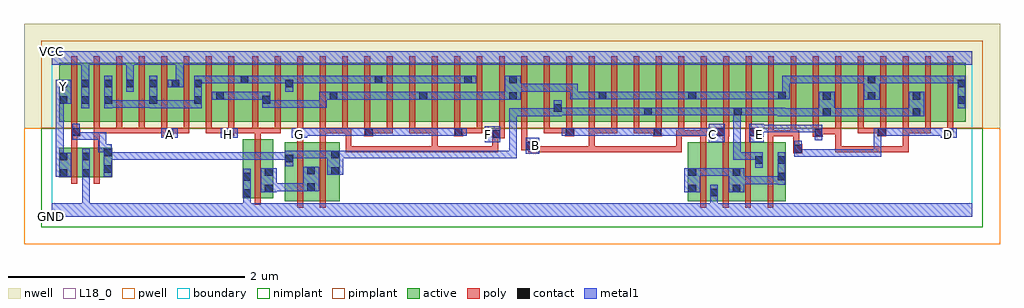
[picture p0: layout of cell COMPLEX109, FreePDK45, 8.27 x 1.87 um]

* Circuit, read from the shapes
.subckt COMPLEX109 A B C D E F G GND H VCC Y
M1 GND n1 Y VSUBS nfet w=0.25u l=0.05u
M2 n1 A GND VSUBS nfet w=0.25u l=0.05u
M3 n2 H GND VSUBS nfet w=0.5u l=0.05u
M4 n2 G n1 VSUBS nfet w=0.5u l=0.05u
M5 n1 F n2 VSUBS nfet w=0.5u l=0.05u
M6 GND B n3 VSUBS nfet w=0.5u l=0.05u
M7 n3 C GND VSUBS nfet w=0.5u l=0.05u
M8 n1 E n3 VSUBS nfet w=0.5u l=0.05u
M9 n3 D n1 VSUBS nfet w=0.5u l=0.05u
M10 VCC n1 Y n4 pfet w=0.5u l=0.05u
M11 n5 A VCC n4 pfet w=0.5u l=0.05u m=5
M12 n6 H n5 n4 pfet w=0.5u l=0.05u m=4
M13 n7 G n5 n4 pfet w=0.5u l=0.05u
M14 n6 F n7 n4 pfet w=0.5u l=0.05u
M15 n8 F n6 n4 pfet w=0.5u l=0.05u
M16 n5 G n8 n4 pfet w=0.5u l=0.05u
M17 n9 G n5 n4 pfet w=0.5u l=0.05u
M18 n6 F n9 n4 pfet w=0.5u l=0.05u
M19 n10 F n6 n4 pfet w=0.5u l=0.05u
M20 n5 G n10 n4 pfet w=0.5u l=0.05u
M21 n11 G n5 n4 pfet w=0.5u l=0.05u
M22 n6 F n11 n4 pfet w=0.5u l=0.05u
M23 n12 B n6 n4 pfet w=0.5u l=0.05u
M24 n1 C n12 n4 pfet w=0.5u l=0.05u
M25 n13 C n1 n4 pfet w=0.5u l=0.05u
M26 n6 B n13 n4 pfet w=0.5u l=0.05u
M27 n14 B n6 n4 pfet w=0.5u l=0.05u
M28 n1 C n14 n4 pfet w=0.5u l=0.05u
M29 n15 C n1 n4 pfet w=0.5u l=0.05u
M30 n6 B n15 n4 pfet w=0.5u l=0.05u
M31 n16 B n6 n4 pfet w=0.5u l=0.05u
M32 n1 C n16 n4 pfet w=0.5u l=0.05u
M33 n17 E n1 n4 pfet w=0.5u l=0.05u
M34 n6 D n17 n4 pfet w=0.5u l=0.05u
M35 n18 D n6 n4 pfet w=0.5u l=0.05u
M36 n1 E n18 n4 pfet w=0.5u l=0.05u
M37 n19 E n1 n4 pfet w=0.5u l=0.05u
M38 n6 D n19 n4 pfet w=0.5u l=0.05u
M39 n20 D n6 n4 pfet w=0.5u l=0.05u
M40 n1 E n20 n4 pfet w=0.5u l=0.05u
M41 n21 E n1 n4 pfet w=0.5u l=0.05u
M42 n6 D n21 n4 pfet w=0.5u l=0.05u
.ends

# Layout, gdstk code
import gdstk
lib = gdstk.Library(unit=1e-6, precision=1e-09)
def R(c, l, rs):  # rectangles x0, y0, x1, y1
    for r in rs: c.add(gdstk.rectangle(r[:2], r[2:], *l))
def A(c, l, x, y, w, h, nx, ny, dx, dy):  # array of equal rectangles
    R(c, l, [(x+i*dx, y+j*dy, x+i*dx+w, y+j*dy+h) for i in range(nx) for j in range(ny)])
active = (1, 0)
pwell = (2, 0)
nwell = (3, 0)
nimplant = (4, 0)
pimplant = (5, 0)
poly = (9, 0)
contact = (10, 0)
metal1 = (11, 0)
L18_0 = (18, 0)
boundary = (235, 0)

complex109 = lib.new_cell('COMPLEX109')
A(complex109, active, 5.575, 0.13, 0.265, 0.5, 3, 1, 0.19, 0)
A(complex109, active, 2.2, 0.805, 0.225, 0.5, 7, 1, 0.38, 0)
A(complex109, active, 2.35, 0.805, 0.23, 0.5, 7, 1, 0.38, 0)
A(complex109, active, 3.87, 0.805, 0.075, 0.395, 4, 1, 0.76, 0)
A(complex109, active, 6, 0.805, 0.225, 0.5, 5, 1, 0.38, 0)
A(complex109, active, 6.15, 0.805, 0.23, 0.5, 4, 1, 0.38, 0)
R(complex109, active, [(1.975,0.13,2.235,0.63), (2.16,0.13,2.44,0.63), (5.39,0.13,5.65,0.63), (5.575,0.13,5.65,0.592), (1.617,0.155,1.877,0.655), (1.617,0.155,1.692,0.592), (1.802,0.195,1.877,0.655), (1.975,0.195,2.05,0.63), (2.16,0.195,2.235,0.592), (2.365,0.195,2.44,0.63), (5.39,0.195,5.465,0.63), (5.765,0.195,5.84,0.592), (5.955,0.195,6.03,0.592), (6.145,0.195,6.22,0.63), (0.062,0.332,0.137,0.582), (0.062,0.332,0.327,0.582), (0.252,0.332,0.327,0.582), (0.252,0.332,0.512,0.582), (0.437,0.332,0.512,0.582), (0.062,0.805,0.322,1.305), (0.062,0.805,0.137,1.2), (0.247,0.805,0.517,1.305), (0.247,0.805,0.322,1.305), (0.442,0.805,0.702,1.305), (0.442,0.805,0.517,1.2), (0.627,0.805,0.897,1.305), (0.822,0.805,1.087,1.305), (1.012,0.805,1.277,1.305), (1.202,0.805,1.462,1.305), (1.202,0.805,1.277,1.2), (1.387,0.805,1.462,1.07), (1.387,0.805,1.67,1.305), (1.595,0.805,1.855,1.305), (1.595,0.805,1.67,1.2), (1.78,0.805,1.855,1.07), (1.78,0.805,2.05,1.305), (1.975,0.805,2.2,1.305), (2.35,0.805,2.425,1.07), (2.73,0.805,2.805,1.2), (3.11,0.805,3.185,1.07), (3.49,0.805,3.565,1.2), (4.25,0.805,4.325,1.07), (4.86,0.805,5.09,1.305), (5.015,0.805,5.24,1.305), (5.24,0.805,5.465,1.305), (5.39,0.805,5.62,1.305), (5.62,0.805,5.85,1.305), (5.775,0.805,6,1.305), (5.775,0.805,5.85,1.07), (6.53,0.805,6.605,1.07), (7.29,0.805,7.365,1.07), (7.67,0.805,7.745,1.2), (0.627,0.807,0.702,1.305), (0.822,0.807,0.897,1.2), (1.012,0.807,1.087,1.305), (1.975,0.807,2.05,1.2), (5.015,0.807,5.09,1.07), (6.91,0.807,6.985,1.2)])
R(complex109, pwell, [(-0.235,-0.235,8.035,0.75)])
R(complex109, nwell, [(-0.235,0.75,8.035,1.635)])
R(complex109, nimplant, [(-0.09,-0.09,7.89,0.75)])
R(complex109, pimplant, [(-0.09,0.75,7.89,1.49)])
A(complex109, poly, 5.495, 0.075, 0.05, 0.61, 4, 1, 0.19, 0)
A(complex109, poly, 4.435, 0.547, 0.05, 0.05, 3, 1, 0.115, 0)
A(complex109, poly, 5.495, 0.635, 0.05, 0.095, 4, 1, 0.19, 0)
A(complex109, poly, 0.167, 0.705, 0.05, 0.095, 8, 1, 0.19, 0)
A(complex109, poly, 0.357, 0.705, 0.24, 0.05, 3, 1, 0.19, 0)
A(complex109, poly, 0.357, 0.705, 0.05, 0.05, 3, 1, 0.19, 0)
A(complex109, poly, 1.7, 0.705, 0.05, 0.095, 11, 1, 0.19, 0)
A(complex109, poly, 4.17, 0.705, 0.05, 0.095, 6, 1, 0.19, 0)
A(complex109, poly, 6.83, 0.705, 0.05, 0.095, 5, 1, 0.19, 0)
A(complex109, poly, 0.167, 0.75, 0.05, 0.61, 8, 1, 0.19, 0)
A(complex109, poly, 1.7, 0.75, 0.05, 0.61, 32, 1, 0.19, 0)
R(complex109, poly, [(2.08,0.075,2.13,0.685), (2.27,0.075,2.32,0.685), (1.722,0.1,1.772,0.71), (0.167,0.277,0.217,0.637), (0.357,0.277,0.407,0.637), (6.285,0.537,6.36,0.612), (2.49,0.547,2.54,0.597), (2.49,0.547,2.54,0.597), (2.49,0.547,2.54,0.597), (2.49,0.547,2.54,0.755), (2.49,0.547,2.672,0.597), (2.622,0.547,2.672,0.597), (2.622,0.547,2.672,0.597), (2.622,0.547,2.672,0.597), (2.622,0.547,2.857,0.597), (2.807,0.547,2.857,0.597), (2.807,0.547,2.857,0.597), (2.807,0.547,2.857,0.597), (2.807,0.547,2.99,0.597), (2.94,0.547,2.99,0.597), (2.94,0.547,3.122,0.597), (3.072,0.547,3.122,0.597), (3.072,0.547,3.122,0.597), (3.072,0.547,3.122,0.597), (3.072,0.547,3.27,0.597), (3.22,0.547,3.27,0.597), (3.22,0.547,3.27,0.597), (3.22,0.547,3.27,0.597), (3.22,0.547,3.27,0.755), (3.22,0.547,3.517,0.597), (3.467,0.547,3.517,0.597), (3.467,0.547,3.517,0.597), (3.467,0.547,3.517,0.597), (3.467,0.547,3.65,0.597), (3.6,0.547,3.65,0.597), (3.6,0.547,3.65,0.597), (3.6,0.547,3.65,0.597), (3.6,0.547,3.782,0.597), (3.732,0.547,3.782,0.597), (3.732,0.547,3.782,0.597), (3.732,0.547,3.782,0.597), (3.732,0.547,3.782,0.712), (4.037,0.547,4.087,0.597), (4.037,0.547,4.22,0.597), (4.037,0.547,4.087,0.612), (4.17,0.547,4.22,0.597), (4.17,0.547,4.22,0.597), (4.17,0.547,4.22,0.597), (4.17,0.547,4.352,0.597), (4.302,0.547,4.352,0.597), (4.302,0.547,4.352,0.597), (4.302,0.547,4.352,0.597), (4.302,0.547,4.485,0.597), (4.435,0.547,4.6,0.597), (4.55,0.547,4.6,0.755), (4.55,0.547,4.715,0.597), (4.665,0.547,4.847,0.597), (4.797,0.547,4.847,0.597), (4.797,0.547,4.847,0.597), (4.797,0.547,4.847,0.597), (4.797,0.547,5.012,0.597), (4.962,0.547,5.012,0.597), (4.962,0.547,5.012,0.597), (4.962,0.547,5.012,0.597), (4.962,0.547,5.207,0.597), (5.157,0.547,5.207,0.597), (5.157,0.547,5.207,0.597), (5.157,0.547,5.207,0.597), (5.157,0.547,5.34,0.597), (5.29,0.547,5.34,0.597), (5.29,0.547,5.34,0.597), (5.29,0.547,5.34,0.597), (5.29,0.547,5.34,0.73), (6.64,0.547,6.69,0.597), (6.64,0.547,6.822,0.597), (6.64,0.547,6.69,0.75), (6.772,0.547,6.822,0.597), (6.772,0.547,6.822,0.597), (6.772,0.547,6.822,0.597), (6.772,0.547,6.995,0.597), (6.945,0.547,6.995,0.597), (6.945,0.547,7.127,0.597), (7.077,0.547,7.127,0.597), (7.077,0.547,7.127,0.597), (7.077,0.547,7.127,0.597), (7.077,0.547,7.26,0.597), (7.21,0.547,7.26,0.597), (7.21,0.547,7.26,0.755), (3.98,0.562,4.087,0.637), (4.037,0.562,4.087,0.612), (4.037,0.562,4.087,0.612), (6.285,0.562,6.335,0.612), (6.285,0.562,6.335,0.612), (6.285,0.562,6.335,0.73), (0.167,0.587,0.217,0.73), (0.357,0.587,0.407,0.755), (3.98,0.587,4.03,0.8), (2.08,0.635,2.13,0.73), (2.27,0.635,2.32,0.755), (1.722,0.66,1.772,0.755), (3.732,0.662,3.84,0.737), (6.45,0.675,6.535,0.75), (0.167,0.68,0.242,0.755), (0.927,0.68,1.035,0.755), (1.47,0.68,1.547,0.755), (2.062,0.68,2.137,0.755), (2.65,0.68,2.725,0.755), (3.41,0.68,3.485,0.755), (4.352,0.68,4.427,0.755), (5.095,0.68,5.17,0.755), (5.29,0.68,5.36,0.73), (5.31,0.68,5.36,0.8), (5.31,0.68,5.545,0.73), (5.495,0.68,5.545,0.73), (5.495,0.68,5.545,0.73), (5.495,0.68,5.55,0.73), (5.5,0.68,5.55,0.8), (5.632,0.68,5.74,0.755), (5.875,0.68,5.982,0.755), (6.065,0.68,6.12,0.73), (6.07,0.68,6.31,0.73), (6.07,0.68,6.12,0.73), (6.07,0.68,6.12,0.73), (6.07,0.68,6.12,0.8), (6.26,0.68,6.31,0.8), (6.26,0.68,6.335,0.73), (6.995,0.68,7.07,0.755), (7.565,0.68,7.64,0.755), (3.79,0.687,3.84,0.8), (6.45,0.7,6.5,0.8), (6.485,0.7,6.69,0.75), (6.64,0.7,6.69,0.75), (6.64,0.7,6.69,0.75), (6.64,0.7,6.69,0.75), (6.64,0.7,6.69,0.75), (6.64,0.7,6.69,0.75), (6.64,0.7,6.69,0.8), (0.357,0.705,0.407,0.755), (0.357,0.705,0.407,0.755), (0.737,0.705,0.787,0.755), (0.737,0.705,0.787,0.755), (0.927,0.705,0.977,0.755), (0.927,0.705,0.977,0.755), (0.985,0.705,1.167,0.755), (1.117,0.705,1.167,0.755), (1.117,0.705,1.167,0.755), (1.117,0.705,1.167,0.755), (1.307,0.705,1.357,0.755), (1.307,0.705,1.52,0.755), (1.47,0.705,1.52,0.755), (1.47,0.705,1.52,0.755), (1.497,0.705,1.75,0.755), (1.7,0.705,1.75,0.755), (1.7,0.705,1.75,0.755), (1.7,0.705,1.772,0.755), (1.722,0.705,1.94,0.755), (1.89,0.705,1.94,0.755), (1.89,0.705,1.94,0.755), (1.89,0.705,1.94,0.755), (2.27,0.705,2.51,0.755), (2.27,0.705,2.32,0.755), (2.46,0.705,2.51,0.755), (2.46,0.705,2.51,0.755), (2.46,0.705,2.54,0.755), (2.675,0.705,2.805,0.755), (2.755,0.705,2.805,0.755), (2.755,0.705,2.89,0.755), (2.84,0.705,2.89,0.755), (3.03,0.705,3.08,0.755), (3.03,0.705,3.122,0.755), (3.072,0.705,3.122,0.755), (3.072,0.705,3.27,0.755), (3.22,0.705,3.27,0.755), (3.22,0.705,3.27,0.755), (3.22,0.705,3.27,0.755), (3.435,0.705,3.485,0.755), (3.435,0.705,3.485,0.755), (3.435,0.705,3.65,0.755), (3.6,0.705,3.65,0.755), (4.17,0.705,4.22,0.755), (4.17,0.705,4.352,0.755), (4.302,0.705,4.352,0.755), (4.302,0.705,4.402,0.755), (4.55,0.705,4.6,0.755), (4.55,0.705,4.6,0.755), (4.55,0.705,4.6,0.755), (4.55,0.705,4.715,0.755), (4.665,0.705,4.715,0.755), (4.665,0.705,4.79,0.755), (4.74,0.705,4.79,0.755), (4.93,0.705,4.98,0.755), (4.93,0.705,4.98,0.755), (4.93,0.705,4.98,0.755), (4.93,0.705,5.145,0.755), (5.69,0.705,5.74,0.8), (5.88,0.705,5.93,0.8), (6.83,0.705,6.88,0.755), (6.83,0.705,6.955,0.755), (6.905,0.705,6.955,0.755), (6.905,0.705,7.045,0.755), (7.21,0.705,7.45,0.755), (7.21,0.705,7.26,0.755), (7.21,0.705,7.26,0.755), (7.21,0.705,7.26,0.755), (7.21,0.705,7.26,0.755), (7.21,0.705,7.26,0.755), (7.4,0.705,7.45,0.755)])
A(complex109, contact, 0.447, 0.955, 0.065, 0.065, 3, 1, 0.38, 0)
A(complex109, contact, 4.635, 0.995, 0.065, 0.065, 3, 1, 0.76, 0)
A(complex109, contact, 0.827, 1.095, 0.065, 0.065, 3, 1, 0.19, 0)
R(complex109, contact, [(1.622,0.165,1.687,0.23), (5.58,0.172,5.645,0.237), (1.807,0.205,1.872,0.27), (5.395,0.205,5.46,0.27), (5.77,0.205,5.835,0.27), (2.165,0.217,2.23,0.282), (1.622,0.305,1.687,0.37), (6.15,0.307,6.215,0.372), (0.067,0.337,0.132,0.402), (0.257,0.337,0.322,0.402), (1.807,0.345,1.872,0.41), (5.395,0.345,5.46,0.41), (5.77,0.345,5.835,0.41), (2.37,0.355,2.435,0.42), (2.165,0.357,2.23,0.422), (0.442,0.372,0.507,0.437), (5.96,0.447,6.025,0.512), (6.15,0.447,6.215,0.512), (1.98,0.46,2.045,0.525), (0.067,0.477,0.132,0.542), (0.257,0.477,0.322,0.542), (2.37,0.495,2.435,0.56), (0.442,0.512,0.507,0.577), (6.29,0.542,6.355,0.607), (4.017,0.567,4.082,0.632), (3.737,0.667,3.802,0.732), (6.465,0.68,6.53,0.745), (0.172,0.685,0.237,0.75), (0.965,0.685,1.03,0.75), (1.475,0.685,1.54,0.75), (2.067,0.685,2.132,0.75), (2.655,0.685,2.72,0.75), (3.415,0.685,3.48,0.75), (4.357,0.685,4.422,0.75), (5.1,0.685,5.165,0.75), (5.637,0.685,5.702,0.75), (5.912,0.685,5.977,0.75), (7,0.685,7.065,0.75), (7.57,0.685,7.635,0.75), (6.535,0.852,6.6,0.917), (7.295,0.852,7.36,0.917), (5.02,0.857,5.085,0.922), (5.78,0.857,5.845,0.922), (4.255,0.887,4.32,0.952), (0.067,0.955,0.132,1.02), (0.252,0.955,0.317,1.02), (7.675,0.955,7.74,1.02), (1.785,0.957,1.85,1.022), (3.875,0.99,3.94,1.055), (6.915,0.99,6.98,1.055), (1.392,0.992,1.457,1.057), (2.355,0.992,2.42,1.057), (3.115,0.992,3.18,1.057), (6.535,0.992,6.6,1.057), (7.295,0.992,7.36,1.057), (0.067,1.095,0.132,1.16), (0.252,1.095,0.317,1.16), (0.447,1.095,0.512,1.16), (0.632,1.095,0.697,1.16), (1.98,1.095,2.045,1.16), (7.675,1.095,7.74,1.16), (1.6,1.13,1.665,1.195), (2.735,1.13,2.8,1.195), (3.495,1.13,3.56,1.195), (3.875,1.13,3.94,1.195), (6.915,1.13,6.98,1.195)])
A(complex109, metal1, 0.447, 0.92, 0.065, 0.275, 3, 1, 0.38, 0)
R(complex109, metal1, [(0,0,7.8,0.115), (0.257,0.05,0.322,0.115), (0.257,0.05,0.322,0.115), (0.257,0.05,0.322,0.115), (0.257,0.05,0.322,0.115), (0.257,0.05,0.322,0.367), (1.622,0.05,1.687,0.195), (5.58,0.05,5.645,0.115), (5.58,0.05,5.645,0.115), (5.58,0.05,5.645,0.202), (1.622,0.13,1.687,0.195), (1.622,0.13,1.687,0.195), (1.622,0.13,1.687,0.405), (5.58,0.137,5.645,0.272), (1.772,0.205,1.907,0.41), (5.36,0.205,5.495,0.41), (5.735,0.205,5.87,0.41), (1.842,0.217,1.907,0.282), (1.842,0.217,1.907,0.282), (1.842,0.217,2.057,0.282), (1.992,0.217,2.057,0.282), (1.992,0.217,2.195,0.282), (2.13,0.217,2.195,0.282), (2.13,0.217,2.195,0.282), (2.13,0.217,2.265,0.422), (6.15,0.272,6.215,0.547), (5.805,0.275,6.047,0.34), (5.982,0.275,6.047,0.34), (5.982,0.275,6.047,0.34), (5.982,0.275,6.047,0.34), (5.982,0.275,6.215,0.34), (6.15,0.275,6.215,0.34), (6.15,0.275,6.215,0.34), (0.257,0.302,0.322,0.367), (0.257,0.302,0.322,0.367), (0.257,0.302,0.322,0.577), (0.032,0.337,0.167,0.542), (0.442,0.337,0.507,0.612), (5.43,0.345,5.495,0.41), (5.43,0.345,5.495,0.41), (5.43,0.345,5.632,0.41), (5.567,0.345,5.632,0.41), (5.567,0.345,5.8,0.41), (5.735,0.345,5.8,0.41), (5.735,0.345,5.8,0.41), (2.335,0.355,2.47,0.56), (5.96,0.412,6.025,0.547), (1.98,0.425,2.045,0.56), (0.035,0.477,0.1,0.542), (0.035,0.477,0.1,0.542), (0.035,0.477,0.1,0.542), (0.035,0.477,0.1,0.542), (0.035,0.477,0.1,1.02), (0.442,0.482,0.597,0.547), (0.532,0.482,0.597,0.547), (0.532,0.482,0.735,0.547), (0.67,0.482,0.735,0.547), (0.67,0.482,0.735,0.547), (0.67,0.482,0.735,0.547), (0.67,0.482,0.91,0.547), (0.845,0.482,0.91,0.547), (0.845,0.482,0.91,0.547), (0.845,0.482,0.91,0.547), (0.845,0.482,1.047,0.547), (0.982,0.482,1.047,0.547), (0.982,0.482,1.047,0.547), (0.982,0.482,1.047,0.547), (0.982,0.482,1.205,0.547), (1.14,0.482,1.205,0.547), (1.14,0.482,1.205,0.547), (1.14,0.482,1.205,0.547), (1.14,0.482,1.492,0.547), (1.427,0.482,1.492,0.547), (1.427,0.482,1.492,0.547), (1.427,0.482,1.492,0.547), (1.427,0.482,1.63,0.547), (1.565,0.482,1.63,0.547), (1.565,0.482,1.63,0.547), (1.565,0.482,1.63,0.547), (1.565,0.482,1.837,0.547), (1.772,0.482,1.837,0.547), (1.772,0.482,1.837,0.547), (1.772,0.482,1.837,0.547), (1.772,0.482,2.045,0.547), (5.775,0.482,5.84,0.547), (5.775,0.482,6.025,0.547), (5.775,0.482,5.84,0.922), (5.96,0.482,6.025,0.547), (5.96,0.482,6.025,0.547), (1.98,0.495,2.195,0.56), (2.13,0.495,2.195,0.56), (2.13,0.495,2.195,0.56), (2.13,0.495,2.195,0.56), (2.13,0.495,2.332,0.56), (2.267,0.495,2.332,0.56), (2.267,0.495,2.4,0.56), (2.405,0.495,2.47,0.56), (2.405,0.495,2.47,0.56), (2.405,0.495,2.617,0.56), (2.552,0.495,2.617,0.56), (2.552,0.495,2.617,0.56), (2.552,0.495,2.617,0.56), (2.552,0.495,2.755,0.56), (2.69,0.495,2.755,0.56), (2.69,0.495,2.972,0.56), (2.907,0.495,2.972,0.56), (2.907,0.495,2.972,0.56), (2.907,0.495,2.972,0.56), (2.907,0.495,3.11,0.56), (3.045,0.495,3.11,0.56), (3.045,0.495,3.11,0.56), (3.045,0.495,3.11,0.56), (3.045,0.495,3.25,0.56), (3.185,0.495,3.25,0.56), (3.185,0.495,3.387,0.56), (3.322,0.495,3.387,0.56), (3.322,0.495,3.387,0.56), (3.322,0.495,3.387,0.56), (3.322,0.495,3.525,0.56), (3.46,0.495,3.525,0.56), (3.46,0.495,3.525,0.56), (3.46,0.495,3.525,0.56), (3.46,0.495,3.767,0.56), (3.702,0.495,3.767,0.56), (3.702,0.495,3.767,0.56), (3.702,0.495,3.767,0.56), (3.702,0.495,3.94,0.56), (3.875,0.495,3.94,0.56), (3.875,0.495,3.94,0.917), (6.29,0.507,6.355,0.642), (6.29,0.507,6.427,0.572), (6.362,0.507,6.427,0.572), (6.362,0.507,6.565,0.572), (6.5,0.507,6.565,0.572), (6.5,0.507,6.565,0.572), (6.5,0.507,6.565,0.572), (6.5,0.507,6.702,0.572), (6.637,0.507,6.702,0.572), (6.637,0.507,6.772,0.572), (6.707,0.507,6.772,0.572), (6.707,0.507,6.877,0.572), (6.812,0.507,6.877,0.572), (6.812,0.507,7.03,0.572), (6.965,0.507,7.03,0.572), (6.965,0.507,7.03,0.572), (6.965,0.507,7.03,0.572), (6.965,0.507,7.03,0.75), (4.017,0.532,4.132,0.667), (0.395,0.547,0.507,0.612), (0.395,0.547,0.46,0.715), (3.667,0.632,3.802,0.767), (5.567,0.632,5.702,0.785), (5.912,0.632,6.032,0.785), (6.465,0.645,6.53,0.78), (0.172,0.65,0.237,0.785), (0.172,0.65,0.37,0.715), (0.305,0.65,0.37,0.715), (0.305,0.65,0.37,0.715), (0.305,0.65,0.37,0.715), (0.305,0.65,0.46,0.715), (0.93,0.667,1.067,0.75), (1.432,0.667,1.575,0.75), (2.032,0.667,2.167,0.75), (7.532,0.667,7.67,0.75), (2.102,0.685,2.195,0.75), (2.13,0.685,2.195,0.75), (2.13,0.685,2.332,0.75), (2.267,0.685,2.332,0.75), (2.267,0.685,2.48,0.75), (2.415,0.685,2.48,0.75), (2.415,0.685,2.48,0.75), (2.415,0.685,2.48,0.75), (2.415,0.685,2.617,0.75), (2.552,0.685,2.617,0.75), (2.552,0.685,2.685,0.75), (2.62,0.685,2.755,0.75), (2.69,0.685,2.755,0.75), (2.69,0.685,2.755,0.75), (2.69,0.685,2.972,0.75), (2.907,0.685,2.972,0.75), (2.907,0.685,2.972,0.75), (2.907,0.685,2.972,0.75), (2.907,0.685,3.11,0.75), (3.045,0.685,3.11,0.75), (3.045,0.685,3.11,0.75), (3.045,0.685,3.11,0.75), (3.045,0.685,3.25,0.75), (3.185,0.685,3.25,0.75), (3.185,0.685,3.387,0.75), (3.322,0.685,3.387,0.75), (3.322,0.685,3.445,0.75), (3.38,0.685,3.515,0.75), (4.322,0.685,4.457,0.75), (4.392,0.685,4.457,0.75), (4.392,0.685,4.457,0.75), (4.392,0.685,4.595,0.75), (4.53,0.685,4.595,0.75), (4.53,0.685,4.595,0.75), (4.53,0.685,4.595,0.75), (4.53,0.685,4.732,0.75), (4.667,0.685,4.732,0.75), (4.667,0.685,4.912,0.75), (4.847,0.685,4.912,0.75), (4.847,0.685,4.912,0.75), (4.847,0.685,4.912,0.75), (4.847,0.685,5.13,0.75), (5.065,0.685,5.13,0.75), (5.065,0.685,5.13,0.75), (5.065,0.685,5.2,0.75), (5.135,0.685,5.267,0.75), (5.202,0.685,5.267,0.75), (5.202,0.685,5.357,0.75), (5.292,0.685,5.357,0.75), (5.292,0.685,5.495,0.75), (5.43,0.685,5.495,0.75), (5.43,0.685,5.495,0.75), (5.43,0.685,5.495,0.75), (5.43,0.685,5.632,0.75), (5.567,0.685,5.632,0.75), (5.567,0.685,5.632,0.75), (6.965,0.685,7.03,0.75), (6.965,0.685,7.03,0.75), (6.965,0.685,7.1,0.75), (7.035,0.685,7.167,0.75), (7.102,0.685,7.167,0.75), (7.102,0.685,7.305,0.75), (7.24,0.685,7.305,0.75), (7.24,0.685,7.305,0.75), (7.24,0.685,7.305,0.75), (7.24,0.685,7.46,0.75), (7.395,0.685,7.46,0.75), (7.395,0.685,7.597,0.75), (7.532,0.685,7.597,0.75), (7.532,0.685,7.597,0.75), (5.967,0.715,6.032,0.78), (5.967,0.715,6.032,0.78), (5.967,0.715,6.217,0.78), (6.152,0.715,6.217,0.78), (6.152,0.715,6.217,0.78), (6.152,0.715,6.217,0.78), (6.152,0.715,6.392,0.78), (6.327,0.715,6.392,0.78), (6.327,0.715,6.392,0.78), (6.327,0.715,6.392,0.78), (6.327,0.715,6.53,0.78), (3.875,0.852,3.94,0.917), (3.875,0.852,3.94,0.917), (3.875,0.852,3.94,0.917), (3.875,0.852,3.94,0.917), (3.875,0.852,3.94,0.917), (3.875,0.852,4.112,0.917), (4.047,0.852,4.112,0.917), (4.047,0.852,4.112,0.917), (4.047,0.852,4.112,0.917), (4.047,0.852,4.32,0.917), (4.255,0.852,4.32,0.987), (6.152,0.852,6.217,0.917), (6.152,0.852,6.217,0.917), (6.152,0.852,6.392,0.917), (6.152,0.852,6.217,0.922), (6.327,0.852,6.392,0.917), (6.327,0.852,6.392,0.917), (6.327,0.852,6.392,0.917), (6.327,0.852,6.565,0.917), (6.5,0.852,6.565,0.917), (6.5,0.852,6.565,0.917), (6.5,0.852,6.635,1.057), (6.57,0.852,6.74,0.917), (6.675,0.852,6.74,0.917), (6.675,0.852,6.772,0.917), (6.707,0.852,6.772,0.917), (6.707,0.852,6.877,0.917), (6.812,0.852,6.877,0.917), (6.812,0.852,6.945,0.917), (6.88,0.852,6.945,0.917), (6.88,0.852,7.167,0.917), (7.102,0.852,7.167,0.917), (7.102,0.852,7.167,0.917), (7.102,0.852,7.167,0.917), (7.102,0.852,7.305,0.917), (7.24,0.852,7.305,0.917), (7.24,0.852,7.325,0.917), (7.26,0.852,7.395,1.057), (4.255,0.857,4.457,0.922), (4.392,0.857,4.457,0.922), (4.392,0.857,4.457,0.922), (4.392,0.857,4.457,0.922), (4.392,0.857,4.595,0.922), (4.53,0.857,4.595,0.922), (4.53,0.857,4.732,0.922), (4.667,0.857,4.732,0.922), (4.667,0.857,4.732,0.922), (4.667,0.857,4.732,0.922), (4.667,0.857,4.912,0.922), (4.847,0.857,4.912,0.922), (4.847,0.857,4.912,0.922), (4.847,0.857,4.912,0.922), (4.847,0.857,5.05,0.922), (4.985,0.857,5.12,0.922), (5.055,0.857,5.12,0.922), (5.055,0.857,5.12,0.922), (5.055,0.857,5.267,0.922), (5.202,0.857,5.267,0.922), (5.202,0.857,5.337,0.922), (5.272,0.857,5.337,0.922), (5.272,0.857,5.495,0.922), (5.43,0.857,5.495,0.922), (5.43,0.857,5.495,0.922), (5.43,0.857,5.495,0.922), (5.43,0.857,5.632,0.922), (5.567,0.857,5.632,0.922), (5.567,0.857,5.81,0.922), (5.745,0.857,5.81,0.922), (5.745,0.857,5.81,0.922), (5.745,0.857,5.88,0.922), (5.775,0.857,5.84,0.922), (5.775,0.857,5.84,0.922), (5.815,0.857,6.017,0.922), (5.952,0.857,6.017,0.922), (5.952,0.857,6.017,0.922), (5.952,0.857,6.017,0.922), (5.952,0.857,6.217,0.922), (0.252,0.92,0.317,1.195), (0.827,0.92,0.892,0.985), (0.827,0.92,0.892,0.985), (0.827,0.92,1.047,0.985), (0.982,0.92,1.047,0.985), (0.982,0.92,1.047,0.985), (0.982,0.92,1.047,0.985), (0.982,0.92,1.272,0.985), (7.675,0.92,7.74,1.195), (0.447,0.922,0.597,0.987), (0.532,0.922,0.597,0.987), (0.532,0.922,0.735,0.987), (0.67,0.922,0.735,0.987), (0.67,0.922,0.735,0.987), (0.67,0.922,0.735,0.987), (0.67,0.922,0.892,0.987), (1.785,0.922,1.85,0.987), (1.785,0.922,1.85,0.987), (1.785,0.922,1.85,1.057), (1.785,0.922,2.045,0.987), (1.98,0.922,2.045,0.987), (1.98,0.922,2.045,0.987), (1.98,0.922,2.045,0.987), (1.98,0.922,2.195,0.987), (2.13,0.922,2.195,0.987), (2.13,0.922,2.332,0.987), (2.267,0.922,2.332,1.057), (0.032,0.955,0.167,1.16), (0.035,0.955,0.1,1.02), (0.035,0.955,0.1,1.02), (3.84,0.99,3.975,1.195), (6.88,0.99,7.015,1.195), (1.357,0.992,1.492,1.057), (1.427,0.992,1.492,1.057), (1.427,0.992,1.492,1.057), (1.427,0.992,1.63,1.057), (1.565,0.992,1.63,1.057), (1.565,0.992,1.63,1.057), (1.565,0.992,1.63,1.057), (1.565,0.992,1.85,1.057), (2.267,0.992,2.385,1.057), (2.32,0.992,2.455,1.057), (2.39,0.992,2.47,1.057), (2.405,0.992,2.47,1.057), (2.405,0.992,2.617,1.057), (2.552,0.992,2.617,1.057), (2.552,0.992,2.617,1.057), (2.552,0.992,2.617,1.057), (2.552,0.992,2.755,1.057), (2.69,0.992,2.755,1.057), (2.69,0.992,2.972,1.057), (2.907,0.992,2.972,1.057), (2.907,0.992,2.972,1.057), (2.907,0.992,2.972,1.057), (2.907,0.992,3.11,1.057), (3.045,0.992,3.11,1.057), (3.045,0.992,3.145,1.057), (3.08,0.992,3.215,1.057), (3.15,0.992,3.247,1.057), (3.182,0.992,3.247,1.057), (3.182,0.992,3.387,1.057), (3.322,0.992,3.387,1.057), (3.322,0.992,3.387,1.057), (3.322,0.992,3.387,1.057), (3.322,0.992,3.525,1.057), (3.46,0.992,3.525,1.057), (3.46,0.992,3.525,1.057), (3.46,0.992,3.525,1.057), (3.46,0.992,3.767,1.057), (3.702,0.992,3.767,1.057), (3.702,0.992,3.767,1.057), (3.702,0.992,3.767,1.057), (3.702,0.992,3.905,1.057), (4.392,0.995,4.595,1.06), (4.392,0.995,4.457,1.125), (4.53,0.995,4.595,1.06), (4.53,0.995,4.665,1.06), (4.6,0.995,4.735,1.06), (4.67,0.995,4.735,1.06), (4.67,0.995,4.735,1.06), (4.67,0.995,4.912,1.06), (4.847,0.995,4.912,1.06), (4.847,0.995,4.912,1.06), (4.847,0.995,4.912,1.06), (4.847,0.995,5.13,1.06), (5.065,0.995,5.13,1.06), (5.065,0.995,5.13,1.06), (5.065,0.995,5.13,1.06), (5.065,0.995,5.287,1.06), (5.222,0.995,5.287,1.06), (5.222,0.995,5.357,1.06), (5.292,0.995,5.357,1.06), (5.292,0.995,5.425,1.06), (5.36,0.995,5.495,1.06), (5.43,0.995,5.495,1.06), (5.43,0.995,5.495,1.06), (5.43,0.995,5.632,1.06), (5.567,0.995,5.632,1.06), (5.567,0.995,5.77,1.06), (5.705,0.995,5.77,1.06), (5.705,0.995,5.77,1.06), (5.705,0.995,5.77,1.06), (5.705,0.995,6.017,1.06), (5.952,0.995,6.017,1.06), (5.952,0.995,6.017,1.06), (5.952,0.995,6.017,1.06), (5.952,0.995,6.185,1.06), (6.12,0.995,6.185,1.06), (6.12,0.995,6.185,1.06), (6.12,0.995,6.255,1.06), (6.19,0.995,6.255,1.195), (0.632,1.06,0.697,1.195), (1.98,1.06,2.045,1.195), (3.91,1.06,3.975,1.125), (3.91,1.06,3.975,1.125), (3.91,1.06,4.112,1.125), (4.047,1.06,4.112,1.125), (4.047,1.06,4.25,1.125), (4.185,1.06,4.25,1.125), (4.185,1.06,4.25,1.125), (4.185,1.06,4.25,1.125), (4.185,1.06,4.457,1.125), (4.392,1.06,4.457,1.125), (4.392,1.06,4.457,1.125), (0.982,1.095,1.117,1.16), (1.052,1.095,1.117,1.35), (0.252,1.13,0.317,1.35), (0.632,1.13,0.697,1.35), (1.207,1.13,1.272,1.195), (1.207,1.13,1.272,1.195), (1.207,1.13,1.492,1.195), (1.427,1.13,1.492,1.195), (1.427,1.13,1.492,1.195), (1.427,1.13,1.492,1.195), (1.427,1.13,1.63,1.195), (1.565,1.13,1.7,1.195), (1.635,1.13,1.7,1.195), (1.635,1.13,1.7,1.195), (1.635,1.13,1.837,1.195), (1.772,1.13,1.837,1.195), (1.772,1.13,1.837,1.195), (1.772,1.13,1.837,1.195), (1.772,1.13,2.045,1.195), (1.98,1.13,2.045,1.195), (1.98,1.13,2.045,1.195), (1.98,1.13,2.195,1.195), (2.13,1.13,2.195,1.195), (2.13,1.13,2.332,1.195), (2.267,1.13,2.332,1.195), (2.267,1.13,2.48,1.195), (2.415,1.13,2.48,1.195), (2.415,1.13,2.48,1.195), (2.415,1.13,2.48,1.195), (2.415,1.13,2.617,1.195), (2.552,1.13,2.617,1.195), (2.552,1.13,2.765,1.195), (2.7,1.13,2.765,1.195), (2.7,1.13,2.765,1.195), (2.7,1.13,2.835,1.195), (2.77,1.13,2.972,1.195), (2.907,1.13,2.972,1.195), (2.907,1.13,2.972,1.195), (2.907,1.13,2.972,1.195), (2.907,1.13,3.11,1.195), (3.045,1.13,3.11,1.195), (3.045,1.13,3.11,1.195), (3.045,1.13,3.11,1.195), (3.045,1.13,3.247,1.195), (3.182,1.13,3.247,1.195), (3.182,1.13,3.387,1.195), (3.322,1.13,3.387,1.195), (3.322,1.13,3.387,1.195), (3.322,1.13,3.387,1.195), (3.322,1.13,3.525,1.195), (3.46,1.13,3.595,1.195), (6.19,1.13,6.255,1.195), (6.19,1.13,6.392,1.195), (6.327,1.13,6.392,1.195), (6.327,1.13,6.392,1.195), (6.327,1.13,6.392,1.195), (6.327,1.13,6.565,1.195), (6.5,1.13,6.565,1.195), (6.5,1.13,6.565,1.195), (6.5,1.13,6.565,1.195), (6.5,1.13,6.702,1.195), (6.637,1.13,6.702,1.195), (6.637,1.13,6.772,1.195), (6.707,1.13,6.772,1.195), (6.707,1.13,6.877,1.195), (6.812,1.13,6.877,1.195), (6.812,1.13,6.945,1.195), (6.95,1.13,7.015,1.195), (6.95,1.13,7.015,1.195), (6.95,1.13,7.167,1.195), (7.102,1.13,7.167,1.195), (7.102,1.13,7.305,1.195), (7.24,1.13,7.305,1.195), (7.24,1.13,7.305,1.195), (7.24,1.13,7.305,1.195), (7.24,1.13,7.442,1.195), (7.377,1.13,7.442,1.195), (7.377,1.13,7.442,1.195), (7.377,1.13,7.442,1.195), (7.377,1.13,7.74,1.195), (7.675,1.13,7.74,1.195), (7.675,1.13,7.74,1.195), (0,1.285,7.8,1.4)])
R(complex109, L18_0, [(0,0,7.8,0.115), (0.257,0.05,0.322,0.115), (0.257,0.05,0.322,0.115), (0.257,0.05,0.322,0.115), (0.257,0.05,0.322,0.115), (0.257,0.05,0.322,0.367), (1.622,0.05,1.687,0.195), (5.58,0.05,5.645,0.115), (5.58,0.05,5.645,0.115), (5.58,0.05,5.645,0.202), (1.622,0.13,1.687,0.195), (1.622,0.13,1.687,0.195), (1.622,0.13,1.687,0.405), (5.58,0.137,5.645,0.272), (0.257,0.302,0.322,0.367), (0.257,0.302,0.322,0.367), (0.257,0.302,0.322,0.577), (0.032,0.337,0.167,0.542), (0.035,0.477,0.1,0.542), (0.035,0.477,0.1,0.542), (0.035,0.477,0.1,0.542), (0.035,0.477,0.1,0.542), (0.035,0.477,0.1,1.02), (6.29,0.507,6.355,0.642), (6.29,0.507,6.427,0.572), (6.362,0.507,6.427,0.572), (6.362,0.507,6.565,0.572), (6.5,0.507,6.565,0.572), (6.5,0.507,6.565,0.572), (6.5,0.507,6.565,0.572), (6.5,0.507,6.702,0.572), (6.637,0.507,6.702,0.572), (6.637,0.507,6.772,0.572), (6.707,0.507,6.772,0.572), (6.707,0.507,6.877,0.572), (6.812,0.507,6.877,0.572), (6.812,0.507,7.03,0.572), (6.965,0.507,7.03,0.572), (6.965,0.507,7.03,0.572), (6.965,0.507,7.03,0.572), (6.965,0.507,7.03,0.75), (4.017,0.532,4.132,0.667), (4.067,0.567,4.132,0.632), (3.667,0.632,3.802,0.767), (5.567,0.632,5.702,0.785), (5.912,0.632,6.032,0.785), (6.465,0.645,6.53,0.78), (0.93,0.667,1.067,0.75), (0.967,0.667,1.032,0.732), (1.432,0.667,1.575,0.75), (1.467,0.667,1.532,0.732), (2.032,0.667,2.167,0.75), (2.067,0.667,2.132,0.732), (3.667,0.667,3.732,0.732), (5.567,0.667,5.632,0.732), (5.967,0.667,6.032,0.732), (7.532,0.667,7.67,0.75), (7.567,0.667,7.632,0.732), (2.102,0.685,2.195,0.75), (2.13,0.685,2.195,0.75), (2.13,0.685,2.332,0.75), (2.267,0.685,2.332,0.75), (2.267,0.685,2.48,0.75), (2.415,0.685,2.48,0.75), (2.415,0.685,2.48,0.75), (2.415,0.685,2.48,0.75), (2.415,0.685,2.617,0.75), (2.552,0.685,2.617,0.75), (2.552,0.685,2.685,0.75), (2.62,0.685,2.755,0.75), (2.69,0.685,2.755,0.75), (2.69,0.685,2.755,0.75), (2.69,0.685,2.972,0.75), (2.907,0.685,2.972,0.75), (2.907,0.685,2.972,0.75), (2.907,0.685,2.972,0.75), (2.907,0.685,3.11,0.75), (3.045,0.685,3.11,0.75), (3.045,0.685,3.11,0.75), (3.045,0.685,3.11,0.75), (3.045,0.685,3.25,0.75), (3.185,0.685,3.25,0.75), (3.185,0.685,3.387,0.75), (3.322,0.685,3.387,0.75), (3.322,0.685,3.445,0.75), (3.38,0.685,3.515,0.75), (4.322,0.685,4.457,0.75), (4.392,0.685,4.457,0.75), (4.392,0.685,4.457,0.75), (4.392,0.685,4.595,0.75), (4.53,0.685,4.595,0.75), (4.53,0.685,4.595,0.75), (4.53,0.685,4.595,0.75), (4.53,0.685,4.732,0.75), (4.667,0.685,4.732,0.75), (4.667,0.685,4.912,0.75), (4.847,0.685,4.912,0.75), (4.847,0.685,4.912,0.75), (4.847,0.685,4.912,0.75), (4.847,0.685,5.13,0.75), (5.065,0.685,5.13,0.75), (5.065,0.685,5.13,0.75), (5.065,0.685,5.2,0.75), (5.135,0.685,5.267,0.75), (5.202,0.685,5.267,0.75), (5.202,0.685,5.357,0.75), (5.292,0.685,5.357,0.75), (5.292,0.685,5.495,0.75), (5.43,0.685,5.495,0.75), (5.43,0.685,5.495,0.75), (5.43,0.685,5.495,0.75), (5.43,0.685,5.632,0.75), (5.567,0.685,5.632,0.75), (5.567,0.685,5.632,0.75), (6.965,0.685,7.03,0.75), (6.965,0.685,7.03,0.75), (6.965,0.685,7.1,0.75), (7.035,0.685,7.167,0.75), (7.102,0.685,7.167,0.75), (7.102,0.685,7.305,0.75), (7.24,0.685,7.305,0.75), (7.24,0.685,7.305,0.75), (7.24,0.685,7.305,0.75), (7.24,0.685,7.46,0.75), (7.395,0.685,7.46,0.75), (7.395,0.685,7.597,0.75), (7.532,0.685,7.597,0.75), (7.532,0.685,7.597,0.75), (5.967,0.715,6.032,0.78), (5.967,0.715,6.032,0.78), (5.967,0.715,6.217,0.78), (6.152,0.715,6.217,0.78), (6.152,0.715,6.217,0.78), (6.152,0.715,6.217,0.78), (6.152,0.715,6.392,0.78), (6.327,0.715,6.392,0.78), (6.327,0.715,6.392,0.78), (6.327,0.715,6.392,0.78), (6.327,0.715,6.53,0.78), (0.252,0.92,0.317,1.195), (0.032,0.955,0.167,1.16), (0.035,0.955,0.1,1.02), (0.035,0.955,0.1,1.02), (0.632,1.06,0.697,1.195), (0.067,1.067,0.132,1.132), (0.982,1.095,1.117,1.16), (1.052,1.095,1.117,1.35), (0.252,1.13,0.317,1.35), (0.632,1.13,0.697,1.35), (0,1.285,7.8,1.4)])
R(complex109, boundary, [(0,0,7.8,1.4)])
complex109.add(gdstk.Label('A', (1,0.7), layer=11, texttype=0))
complex109.add(gdstk.Label('B', (4.1,0.6), layer=11, texttype=0))
complex109.add(gdstk.Label('C', (5.6,0.7), layer=11, texttype=0))
complex109.add(gdstk.Label('D', (7.6,0.7), layer=11, texttype=0))
complex109.add(gdstk.Label('E', (6,0.7), layer=11, texttype=0))
complex109.add(gdstk.Label('F', (3.7,0.7), layer=11, texttype=0))
complex109.add(gdstk.Label('G', (2.1,0.7), layer=11, texttype=0))
complex109.add(gdstk.Label('H', (1.5,0.7), layer=11, texttype=0))
complex109.add(gdstk.Label('Y', (0.1,1.1), layer=11, texttype=0))
complex109.add(gdstk.Label('VCC', (0,1.4), layer=11, texttype=0))
complex109.add(gdstk.Label('GND', (0,0), layer=11, texttype=0))

lib.write_gds('COMPLEX109.gds')
